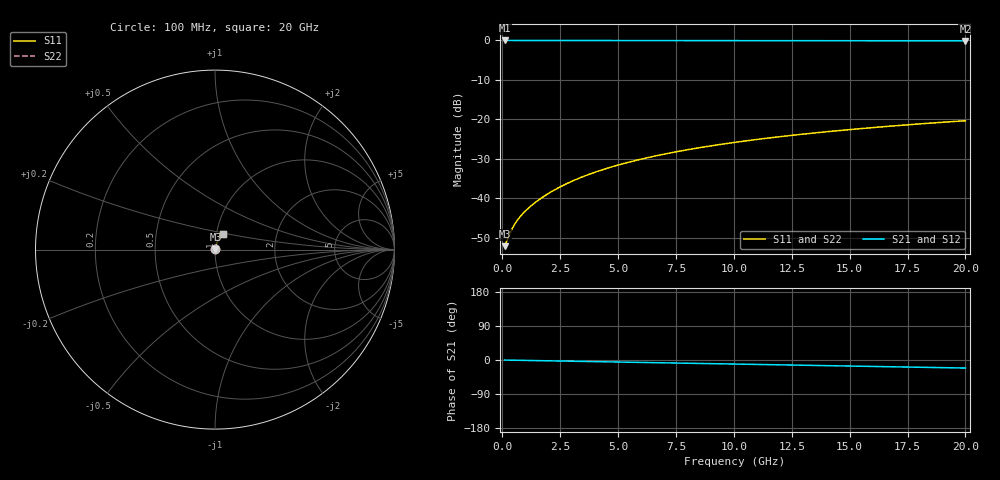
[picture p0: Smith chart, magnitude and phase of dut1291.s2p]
! Touchstone file exported from HFSS 2026.1.0
!  File:  C:/ffzhzh/LocalFiles/Ansys_Project_Files/temp_train_TMRDL_1291_1783164536_51560.aedt
!  Generated:  07:30:04 PM Jul  4, 2026
!  Design:  TMRDL
!  Project:  temp_train_TMRDL_1291_1783164536_51560
! Variables:
!  h_bsmrdl = 2um
!  h_ox = 20um
!  h_rdl = 5um
!  h_sub = 80um
!  h_tmrdl = 2.37um
!  h_tsv = 80um
!  h_via = 3um
!  l_bsmrdl = 300um
!  l_sub = 744.63um
!  l_tmrdl = 344.63um
!  m_sub = 200um
!  pitch = 34.07um
!  r_tsv = 6um
!  s_tmrdl = 10um
!  w_bsmrdl = 18um
!  w_sub = 500um
!  w_tmrdl = 26.22um
!  x_tsv_center1 = 357.74um
!  x_tsv_center2 = 675.74um
!  x_tsv_center3 = 1046.59um
!  x_tsv_center4 = 1364.59um
!  x_tsv_center5 = 1735.44um
!  x_tsv_center6 = 2053.44um
# GHz S MA R 50.000000
! Terminal data exported
! Port[1] = TM_RDL1_1_T1
! Port[2] = TM_RDL1_1_T2
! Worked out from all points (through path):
!   200 points, 100 MHz to 20 GHz, reference 50 ohm
!   highest |S21| = -0.02 dB at 100 MHz (marker M1); lowest = -0.1 dB at 20 GHz (marker M2)
!   group delay of S21, straight-line fit = 2.94 ps
!   lowest |S11| = -52.1 dB at 100 MHz (marker M3), VSWR 1.00, Z = 50.2 + j0.0781 ohm
!   |S11| at or under -10 dB: start of sweep to end of sweep
!   |S22| runs from -52.1 to -20.4 dB; largest |S21 - S12| = 2.5e-15
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0.1  0.002476 18.3  0.9977 -0.1  0.9977 -0.1  0.002476 18.3
! Gamma 0 0 0 0
! Port Impedance 50 0 50 0
0.3  0.00343 39.9  0.9974 -0.4  0.9974 -0.4  0.00343 39.9
0.4  0.003983 45.1  0.9972 -0.5  0.9972 -0.5  0.003983 45.1
0.5  0.00452 48.6  0.997 -0.6  0.997 -0.6  0.004519 48.6
0.6  0.005032 51.3  0.9969 -0.7  0.9969 -0.7  0.005031 51.2
0.7  0.005521 53.4  0.9968 -0.8  0.9968 -0.8  0.005521 53.4
0.9  0.006458 57.0  0.9966 -1.0  0.9966 -1.0  0.006457 56.9
1.2  0.007824 61.1  0.9964 -1.3  0.9964 -1.3  0.007823 61.1
1.7  0.01013 66.1  0.9962 -1.9  0.9962 -1.9  0.01013 66.1
2.2  0.0125 69.4  0.9961 -2.4  0.9961 -2.4  0.0125 69.4
2.8  0.01542 71.8  0.9959 -3.0  0.9959 -3.0  0.01542 71.8
3.5  0.01888 73.5  0.9957 -3.8  0.9957 -3.8  0.01888 73.5
4.2  0.02237 74.4  0.9955 -4.5  0.9955 -4.5  0.02237 74.4
5  0.02636 74.8  0.9952 -5.4  0.9952 -5.4  0.02636 74.8
5.9  0.03085 74.9  0.9948 -6.4  0.9948 -6.4  0.03085 74.9
6.8  0.03531 74.6  0.9944 -7.3  0.9944 -7.3  0.03531 74.6
8.3  0.04268 73.8  0.9937 -8.9  0.9937 -8.9  0.04268 73.8
10.1  0.05137 72.5  0.9927 -10.8  0.9927 -10.8  0.05137 72.5
11.7  0.05895 71.1  0.9918 -12.5  0.9918 -12.5  0.05896 71.2
13.4  0.06685 69.6  0.9907 -14.3  0.9907 -14.3  0.06686 69.6
16.7  0.08174 66.6  0.9886 -17.8  0.9886 -17.8  0.08174 66.6
20  0.09604 63.4  0.9864 -21.2  0.9864 -21.2  0.09604 63.4
